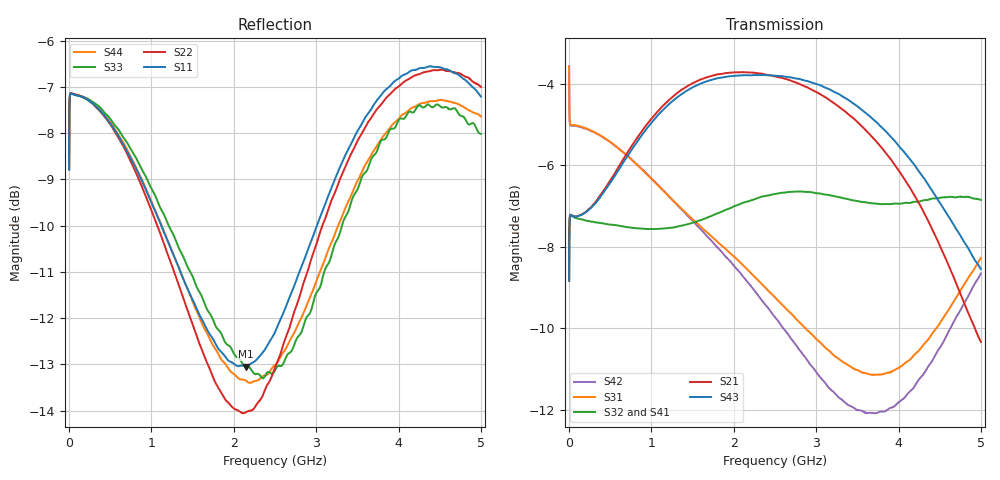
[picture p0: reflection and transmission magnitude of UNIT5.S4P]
!MINI CIRCUITS LABORATORY
!MODEL:TC1-1-13M+
!RUN/LOT/DATE CODE:MX88570
!FIXTURE USED:90-2-20-199,S/N66156
!CONNECTION:PORT1-PIN6,PORT2-PIN4,PORT3-PIN1,PORT4-PIN3; PIN 2,5-GRND
!Date: Fri Dec 14 12:44:47 2007
!Data & Calibration Information:
!Freq	S11:SOLT4(ON)	S12:SOLT4(ON)	S13:SOLT4(ON)	S14:SOLT4(ON)
!	S21:SOLT4(ON)	S22:SOLT4(ON)	S23:SOLT4(ON)	S24:SOLT4(ON)
!	S31:SOLT4(ON)	S32:SOLT4(ON)	S33:SOLT4(ON)	S34:SOLT4(ON)
!	S41:SOLT4(ON)	S42:SOLT4(ON)	S43:SOLT4(ON)	S44:SOLT4(ON)
# Hz S dB R 50
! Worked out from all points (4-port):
!   1601 points, 1 MHz to 5 GHz, reference 50 ohm
!   strongest paths, dB at 1 MHz, 1.251 GHz, 2.501 GHz, 3.75 GHz, 5 GHz:
!     S43: -8.8, -4.4, -3.8, -5.0, -8.5
!     S21: -8.8, -4.3, -3.8, -5.5, -10.3
!     S32: -8.8, -7.5, -6.7, -6.9, -6.9
!     S41: -8.8, -7.6, -6.9, -7.0, -6.7
!     S31: -3.6, -6.8, -9.2, -11.1, -8.3
!     S42: -3.6, -6.8, -9.7, -12.1, -8.7
!   lowest |S11| = -13.0 dB at 2.144 GHz (marker M1), VSWR 1.57, Z = 77.6 - j6.97 ohm
!   |S11| at or under -10 dB: 1.12 GHz to 3.01 GHz (1.89 GHz wide, 91.5 % of centre)
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1000000  -8.79 17.6  -8.84 17.7  -3.58 -9.6  -8.84 -162.5
         -8.84 17.7  -8.77 17.5  -8.84 -162.5  -3.58 -9.6
         -3.57 -9.6  -8.83 -162.4  -8.78 17.6  -8.83 17.6
         -8.84 -162.5  -3.58 -9.5  -8.83 17.6  -8.78 17.4
2.25955e8  -7.28 -6.6  -7.11 4.5  -5.12 -11.7  -7.37 165.3
           -7.11 4.5  -7.28 -7.7  -7.37 165.1  -5.13 -10.9
           -5.12 -11.7  -7.37 165.1  -7.26 -7.1  -7.12 4.3
           -7.36 165.3  -5.13 -10.9  -7.13 4.3  -7.27 -7.7
8.820738e8  -9.02 -24.4  -5.18 6.8  -6.11 -42.8  -7.56 126.4
            -5.17 6.8  -9.15 -28.1  -7.56 126.1  -6.10 -39.9
            -6.10 -42.8  -7.56 126.0  -8.78 -25.6  -5.27 6.9
            -7.57 126.4  -6.09 -39.9  -5.27 6.9  -9.00 -28.3
2.144321e9  -13.05 -11.0  -3.72 -14.5  -8.52 -99.0  -7.04 68.1
            -3.72 -14.6  -14.04 -12.7  -6.89 68.1  -8.79 -94.1
            -8.52 -98.9  -6.91 68.1  -13.06 -19.4  -3.79 -12.8
            -7.04 67.9  -8.81 -94.2  -3.80 -12.8  -13.35 -20.5
2.931664e9  -10.37 17.5  -4.14 -29.2  -10.12 -142.3  -6.83 36.2
            -4.14 -29.3  -10.78 18.9  -6.65 36.3  -10.89 -137.9
            -10.12 -142.3  -6.66 36.3  -11.86 11.9  -3.96 -26.1
            -6.84 36.1  -10.90 -137.8  -3.96 -26.0  -11.52 11.2
3.697136e9  -7.40 21.3  -5.35 -43.8  -11.14 173.8  -7.02 10.9
            -5.35 -43.8  -7.59 21.8  -6.93 11.2  -12.07 175.8
            -11.14 173.9  -6.94 11.3  -8.49 20.6  -4.88 -39.8
            -7.03 10.9  -12.08 175.7  -4.89 -39.8  -8.39 21.7
5e9  -7.21 -10.2  -10.33 -54.1  -8.27 103.2  -6.68 -32.9
     -10.33 -54.0  -7.00 -11.5  -6.86 -31.3  -8.64 105.2
     -8.28 103.2  -6.85 -31.3  -8.02 -7.8  -8.54 -50.6
     -6.69 -33.0  -8.66 105.2  -8.55 -50.6  -7.64 -2.7
